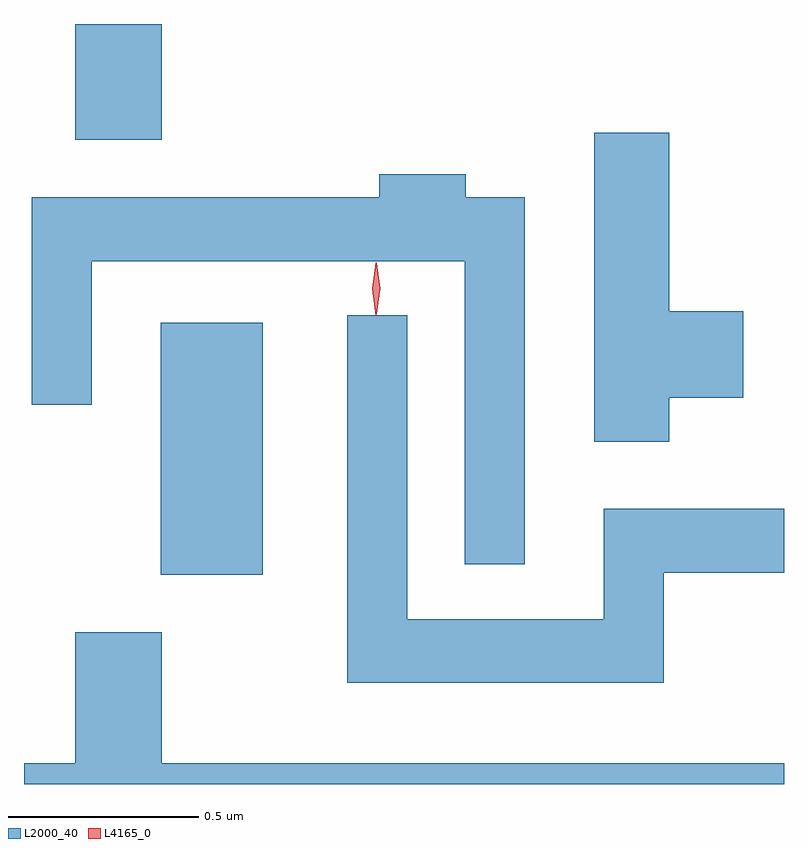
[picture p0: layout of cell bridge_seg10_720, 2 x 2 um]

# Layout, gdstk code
import gdstk
lib = gdstk.Library(unit=1e-6, precision=1e-09)
def R(c, l, rs):  # rectangles x0, y0, x1, y1
    for r in rs: c.add(gdstk.rectangle(r[:2], r[2:], *l))
def P(c, l, *ps):  # polygons
    for p in ps: c.add(gdstk.Polygon(p, *l))
L2000_40 = (2000, 40)
L4165_0 = (4165, 0)

bridge_seg10_720 = lib.new_cell('bridge_seg10_720')
R(bridge_seg10_720, L2000_40, [(949.346,2119.121,949.614,2119.784), (949.121,2120.266,949.349,2120.57)])
P(bridge_seg10_720, L2000_40, [(950.684,2119.586),(950.879,2119.586),(950.879,2119.814),(950.684,2119.814),(950.684,2120.284),(950.486,2120.284),(950.486,2119.471),(950.684,2119.471)],
  [(950.304,2120.114),(950.149,2120.114),(950.149,2120.174),(949.921,2120.174),(949.921,2120.114),(949.006,2120.114),(949.006,2119.568),(949.164,2119.568),(949.164,2119.946),(950.146,2119.946),(950.146,2119.148),(950.304,2119.148)],
  [(950.669,2119.126),(950.986,2119.126),(950.986,2119.294),(950.511,2119.294),(950.511,2119.004),(949.994,2119.004),(949.994,2119.803),(949.836,2119.803),(949.836,2118.836),(950.669,2118.836)],
  [(950.986,2118.624),(949.349,2118.624),(949.349,2118.969),(949.121,2118.969),(949.121,2118.624),(948.986,2118.624),(948.986,2118.57),(950.986,2118.57)])
P(bridge_seg10_720, L4165_0, [(949.913,2119.807),(949.913,2119.807),(949.903,2119.874),(949.913,2119.94),(949.913,2119.941),(949.914,2119.94),(949.923,2119.874),(949.914,2119.807)],
  [(949.913,2119.803),(949.912,2119.804),(949.903,2119.873),(949.912,2119.942),(949.913,2119.943),(949.913,2119.942),(949.923,2119.873),(949.913,2119.804)])

lib.write_gds('bridge_seg10_720.gds')
